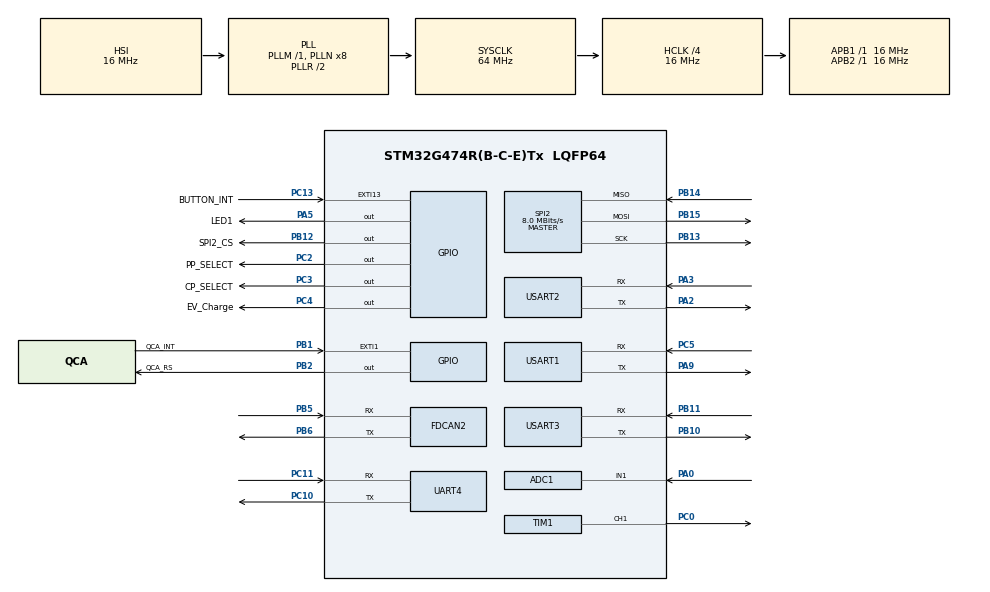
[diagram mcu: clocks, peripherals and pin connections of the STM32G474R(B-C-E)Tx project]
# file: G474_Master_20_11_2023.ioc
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ADC1.Channel-0\#ChannelRegularConversion=ADC_CHANNEL_1
ADC1.NbrOfConversionFlag=1
ADC1.OffsetNumber-0\#ChannelRegularConversion=ADC_OFFSET_NONE
ADC1.Rank-0\#ChannelRegularConversion=1
ADC1.SamplingTime-0\#ChannelRegularConversion=ADC_SAMPLETIME_2CYCLES_5
ADC1.master=1
Dma.Request0=UART4_RX
Dma.Request1=USART3_RX
Dma.UART4_RX.0.Direction=DMA_PERIPH_TO_MEMORY
Dma.UART4_RX.0.EventEnable=DISABLE
Dma.UART4_RX.0.Instance=DMA1_Channel1
Dma.UART4_RX.0.MemDataAlignment=DMA_MDATAALIGN_BYTE
Dma.UART4_RX.0.MemInc=DMA_MINC_ENABLE
Dma.UART4_RX.0.Mode=DMA_NORMAL
Dma.UART4_RX.0.PeriphDataAlignment=DMA_PDATAALIGN_BYTE
Dma.UART4_RX.0.PeriphInc=DMA_PINC_DISABLE
Dma.UART4_RX.0.Polarity=HAL_DMAMUX_REQ_GEN_RISING
Dma.UART4_RX.0.Priority=DMA_PRIORITY_LOW
Dma.UART4_RX.0.RequestNumber=1
Dma.UART4_RX.0.SignalID=NONE
Dma.UART4_RX.0.SyncEnable=DISABLE
Dma.UART4_RX.0.SyncPolarity=HAL_DMAMUX_SYNC_NO_EVENT
Dma.UART4_RX.0.SyncRequestNumber=1
Dma.UART4_RX.0.SyncSignalID=NONE
Dma.USART3_RX.1.Direction=DMA_PERIPH_TO_MEMORY
Dma.USART3_RX.1.EventEnable=DISABLE
Dma.USART3_RX.1.Instance=DMA1_Channel2
Dma.USART3_RX.1.MemDataAlignment=DMA_MDATAALIGN_BYTE
Dma.USART3_RX.1.MemInc=DMA_MINC_ENABLE
Dma.USART3_RX.1.Mode=DMA_NORMAL
Dma.USART3_RX.1.PeriphDataAlignment=DMA_PDATAALIGN_BYTE
Dma.USART3_RX.1.PeriphInc=DMA_PINC_DISABLE
Dma.USART3_RX.1.Polarity=HAL_DMAMUX_REQ_GEN_RISING
Dma.USART3_RX.1.Priority=DMA_PRIORITY_LOW
Dma.USART3_RX.1.RequestNumber=1
Dma.USART3_RX.1.SignalID=NONE
Dma.USART3_RX.1.SyncEnable=DISABLE
Dma.USART3_RX.1.SyncPolarity=HAL_DMAMUX_SYNC_NO_EVENT
Dma.USART3_RX.1.SyncRequestNumber=1
Dma.USART3_RX.1.SyncSignalID=NONE
FDCAN2.AutoRetransmission=ENABLE
FDCAN2.CalculateBaudRateNominal=125000
FDCAN2.CalculateTimeBitNominal=8000
FDCAN2.CalculateTimeQuantumNominal=1000.0
FDCAN2.NominalPrescaler=16
FDCAN2.NominalTimeSeg1=4
FDCAN2.NominalTimeSeg2=3
Mcu.Family=STM32G4
Mcu.Name=STM32G474R(B-C-E)Tx
Mcu.Package=LQFP64
NVIC.ADC1_2_IRQn=true\:0\:0\:false\:false\:true\:true\:true\:true
NVIC.DMA1_Channel1_IRQn=true\:0\:0\:false\:false\:true\:false\:true\:true
NVIC.DMA1_Channel2_IRQn=true\:0\:0\:false\:false\:true\:false\:true\:true
NVIC.EXTI15_10_IRQn=true\:0\:0\:false\:false\:true\:true\:true\:true
NVIC.EXTI1_IRQn=true\:0\:0\:false\:false\:true\:true\:true\:true
NVIC.FDCAN2_IT0_IRQn=true\:0\:0\:false\:false\:true\:true\:true\:true
NVIC.PriorityGroup=NVIC_PRIORITYGROUP_4
NVIC.SPI2_IRQn=true\:0\:0\:false\:false\:true\:true\:true\:true
NVIC.TIM1_BRK_TIM15_IRQn=true\:0\:0\:false\:false\:true\:true\:true\:true
NVIC.TIM1_TRG_COM_TIM17_IRQn=true\:0\:0\:false\:false\:true\:true\:true\:true
NVIC.TIM1_UP_TIM16_IRQn=true\:0\:0\:false\:false\:true\:true\:true\:true
PA0.Mode=IN1-Single-Ended
PA0.Signal=ADC1_IN1
PA13.Mode=Serial_Wire
PA13.Signal=SYS_JTMS-SWDIO
PA14.Mode=Serial_Wire
PA14.Signal=SYS_JTCK-SWCLK
PA2.Mode=Asynchronous
PA2.Signal=USART2_TX
PA3.Mode=Asynchronous
PA3.Signal=USART2_RX
PA5.GPIO_Label=LED1
PA5.PinState=GPIO_PIN_RESET
PA5.Signal=GPIO_Output
PA9.Mode=Asynchronous
PA9.Signal=USART1_TX
PB1.GPIO_Label=QCA_INT
PB1.GPIO_ModeDefaultEXTI=GPIO_MODE_IT_RISING
PB1.Signal=GPXTI1
PB10.Mode=Asynchronous
PB10.Signal=USART3_TX
PB11.GPIO_FM8=__NULL
PB11.Mode=Asynchronous
PB11.Signal=USART3_RX
PB12.GPIO_Label=SPI2_CS
PB12.Signal=GPIO_Output
PB13.Mode=Full_Duplex_Master
PB13.Signal=SPI2_SCK
PB14.Mode=Full_Duplex_Master
PB14.Signal=SPI2_MISO
PB15.Mode=Full_Duplex_Master
PB15.Signal=SPI2_MOSI
PB2.GPIO_Label=QCA_RS
PB2.Signal=GPIO_Output
PB5.Mode=FDCAN_Activate
PB5.Signal=FDCAN2_RX
PB6.Mode=FDCAN_Activate
PB6.Signal=FDCAN2_TX
PC0.Signal=S_TIM1_CH1
PC10.Mode=Asynchronous
PC10.Signal=UART4_TX
PC11.Mode=Asynchronous
PC11.Signal=UART4_RX
PC13.GPIO_Label=BUTTON_INT
PC13.Signal=GPXTI13
PC2.GPIO_Label=PP_SELECT
PC2.Signal=GPIO_Output
PC3.GPIO_Label=CP_SELECT
PC3.Signal=GPIO_Output
PC4.GPIO_Label=EV_Charge
PC4.GPIO_ModeDefaultOutputPP=GPIO_MODE_OUTPUT_PP
PC4.GPIO_PuPd=GPIO_NOPULL
PC4.Signal=GPIO_Output
PC5.Mode=Asynchronous
PC5.Signal=USART1_RX
ProjectManager.HeapSize=0x200
ProjectManager.StackSize=0x400
ProjectManager.TargetToolchain=STM32CubeIDE
RCC.ADC12Freq_Value=64000000
RCC.ADC345Freq_Value=64000000
RCC.AHBCLKDivider=RCC_SYSCLK_DIV4
RCC.AHBFreq_Value=16000000
RCC.APB1Freq_Value=16000000
RCC.APB1TimFreq_Value=16000000
RCC.APB2Freq_Value=16000000
RCC.APB2TimFreq_Value=16000000
RCC.CortexFreq_Value=16000000
RCC.EXTERNAL_CLOCK_VALUE=12288000
RCC.HCLKFreq_Value=16000000
RCC.HSE_VALUE=8000000
RCC.HSI48_VALUE=48000000
RCC.HSI_VALUE=16000000
RCC.LSE_VALUE=32768
RCC.SYSCLKFreq_VALUE=64000000
RCC.SYSCLKSource=RCC_SYSCLKSOURCE_PLLCLK
RCC.USBFreq_Value=64000000
RCC.VCOOutputFreq_Value=128000000
SH.S_TIM1_CH1.0=TIM1_CH1,PWM Generation1 CH1
SPI2.CLKPhase=SPI_PHASE_2EDGE
SPI2.CLKPolarity=SPI_POLARITY_HIGH
SPI2.CalculateBaudRate=8.0 MBits/s
SPI2.DataSize=SPI_DATASIZE_8BIT
SPI2.Direction=SPI_DIRECTION_2LINES
SPI2.Mode=SPI_MODE_MASTER
SPI2.VirtualType=VM_MASTER
TIM1.AutoReloadPreload=TIM_AUTORELOAD_PRELOAD_ENABLE
TIM1.Channel-PWM\ Generation1\ CH1=TIM_CHANNEL_1
TIM1.PeriodNoDither=99
TIM1.Prescaler=159
TIM17.AutoReloadPreload=TIM_AUTORELOAD_PRELOAD_ENABLE
TIM17.PeriodNoDither=9999
TIM17.Prescaler=319
USART1.VirtualMode-Asynchronous=VM_ASYNC
USART2.VirtualMode-Asynchronous=VM_ASYNC
USART3.VirtualMode-Asynchronous=VM_ASYNC
VP_SYS_VS_DBSignals.Mode=DisableDeadBatterySignals
VP_TIM17_VS_ClockSourceINT.Mode=Enable_Timer
board=custom

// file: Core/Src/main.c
/* USER CODE BEGIN Header */
/**
 ******************************************************************************
 * @file           : main.c
 * @brief          : Main program body
 ******************************************************************************
 * @attention
 *
 * Copyright (c) 2023 STMicroelectronics.
 * All rights reserved.
 *
 * This software is licensed under terms that can be found in the LICENSE file
 * in the root directory of this software component.
 * If no LICENSE file comes with this software, it is provided AS-IS.
 *
 ******************************************************************************
 */
/* USER CODE END Header */
#include "main.h"

/* USER CODE BEGIN Includes */
//#include "HMI.h"
#include "stdlib.h"
#include "mycanopen.h"
#include "MyFLASH.h"
#include "myerror.h"
#include "string.h"
#include "../../Libraries/cims.h"
#include "ToESP.h"
/* USER CODE END Includes */

ADC_HandleTypeDef hadc1;

FDCAN_HandleTypeDef hfdcan2;

SPI_HandleTypeDef hspi2;

TIM_HandleTypeDef htim1;
TIM_HandleTypeDef htim17;

UART_HandleTypeDef huart4;
UART_HandleTypeDef huart1;
UART_HandleTypeDef huart2;
UART_HandleTypeDef huart3;
DMA_HandleTypeDef hdma_uart4_rx;
DMA_HandleTypeDef hdma_usart3_rx;

void SystemClock_Config(void);
static void MX_GPIO_Init(void);
static void MX_DMA_Init(void);
static void MX_FDCAN2_Init(void);
static void MX_UART4_Init(void);
static void MX_TIM17_Init(void);
static void MX_USART3_UART_Init(void);
static void MX_ADC1_Init(void);
static void MX_SPI2_Init(void);
static void MX_TIM1_Init(void);
static void MX_USART1_UART_Init(void);
static void MX_USART2_UART_Init(void);

/* USER CODE BEGIN 0 */
#define TIMEOUT 1000			//maximum time for uart and SPI transmit
#define TPDO_Event_Time 100
#define current_multiplier 1
#define voltage_multiplier 1
#define temperature_multiplier 1
#define Maximum_number_of_Slave 6							//nen la 8*n-2
#define Maximum_time_not_update_of_IDs 5000
#define Maximum_number_of_IDs (Maximum_number_of_Slave+2)	//number of ID, =number of slave+2, 1 for master, 1 for initial slave
#define Number_of_Used_Slave 2								//<Maximum_number_of_Slave

#define UART_SIZE 4
uint8_t buffer[UART_SIZE] = { 0 };
uint8_t size = 0;
uint8_t flag = 0;

uint32_t previoustick_master = 0;
uint32_t previoustick_slave[Maximum_number_of_IDs];
uint32_t previoustick_HMI = 0;
uint32_t previoustick_ESP = 0;
uint32_t previoustick_SPI = 0;
uint32_t previoustick_calculate = 0;
uint32_t previoustick_CAN = 0;

uint8_t uart4_rx_data[8];
uint8_t uart4_tx_data[8];
uint8_t uart3_rx_data[8];
uint8_t uart1_rx_data[8];
uint8_t uart3_tx_data[8];

FDCAN_TxHeaderTypeDef CAN_Master_Tx_Header;
FDCAN_RxHeaderTypeDef CAN_Master_Rx_Header;

uint8_t CAN_Master_Tx_Data[8];
uint8_t CAN_Master_Rx_Data[8];

SPDO_Data Master_Tx_SPDO_Data;
SPDO_Data Master_Rx_SPDO_Data;

SPDO_Data Slave_Data[Maximum_number_of_Slave];

uint8_t list_node_available[Maximum_number_of_IDs];		//Stored list of IDs
uint32_t list_node_update[Maximum_number_of_IDs];//The list saves the time that the IDs were last updated

int uart_flag = 0;
int button_flag = 0;
int button_flag2 = 0;
int can_flag = 0;

int can_setting_confirm_flag = 0;//so luong thong so da cai dat xong, 1 node co 4 thong so
int can_node_number = 2;//so node dang tham gia mang, se cap nhat trong timer

uint16_t EVstate;
uint16_t Current = 30;
uint16_t Voltage = 0;
uint16_t Temperature = 50;
uint16_t Energy = 0;
// Simulation
#define MAX_CONNECTORS 2

int connectors[MAX_CONNECTORS] = { 0, 0 };
int users[MAX_CONNECTORS] = { 255, 255 };
uint8_t current_user = 255;
int status[MAX_CONNECTORS] = { 0, 0 }; // Connector charging or not
uint8_t connectorID;

void Serial_Print(void) {
#define TIMEOUT_100_MS 100
	HAL_UART_Transmit(&huart1, (uint8_t*) serial_output_buffer,
			strlen(serial_output_buffer), TIMEOUT_100_MS);
}

void EVSE_state() {
	sprintf(serial_output_buffer, "Connector 1: %X, Connector 2: %X\n",
			connectors[0], connectors[1]);
	Serial_Print();
	sprintf(serial_output_buffer, "Status 1: %X, Status 2: %X\n", status[0],
			status[1]);
	Serial_Print();
	sprintf(serial_output_buffer, "User 1: %X, User 2: %X\n", users[0], users[1]);
	Serial_Print();
	sprintf(serial_output_buffer, "curent_User: %X\n", current_user);
	Serial_Print();
}

void ESP_Send(void) {
	HAL_UART_Transmit(&huart3, ESP_Payload, 8, 100);
}

void SPI_Transmit_Receive(void) {
	HAL_GPIO_WritePin(SPI2_CS_GPIO_Port, SPI2_CS_Pin, GPIO_PIN_RESET);
	HAL_SPI_TransmitReceive(&hspi2, spi_tx_buffer, spi_rx_buffer, spi_data_size,
			200);
	HAL_GPIO_WritePin(SPI2_CS_GPIO_Port, SPI2_CS_Pin, GPIO_PIN_SET);
}

void HMI_Print(void) {
	HAL_UART_Transmit(&huart4, (uint8_t*) hmi_buffer, strlen(hmi_buffer),
	TIMEOUT_100_MS);
	uint8_t END_BYTE = 0xFF;
	HAL_UART_Transmit(&huart4, &END_BYTE, 1, 10);
	HAL_UART_Transmit(&huart4, &END_BYTE, 1, 10);

HAL_UART_Transmit(&huart4, &END_BYTE, 1, 10);
}

void HAL_TIM_PeriodElapsedCallback(TIM_HandleTypeDef *htim) {
	;
}
uint8_t calculate_checksum(uint8_t *frame, size_t length) {
	uint8_t sum = 0;
	for (size_t i = 0; i < length - 1; i++) {
		sum += frame[i];
	}
	return sum & 0xFF;
}
void create_frame(uint8_t file_code, uint8_t *data, uint8_t *frame,
		uint8_t connector) {
	frame[0] = 0xAB;
	frame[1] = 0xCD;
	frame[2] = file_code;
	memcpy(&frame[3], data, 3);
	frame[6] = connector;
	frame[7] = calculate_checksum(frame, 8);
}
void send_frames(UART_HandleTypeDef *huart, uint8_t file_code, uint8_t *data,
		uint8_t connector) {
	uint8_t frame[8];
	create_frame(file_code, data, frame, connector);
	HAL_UART_Transmit(huart, frame, 8, HAL_MAX_DELAY);
	printf("Sent: ");
	for (int i = 0; i < 8; i++) {
		printf("%02X ", frame[i]);
	}
	printf("\n");

}

void HAL_UART_RxCpltCallback(UART_HandleTypeDef *huart) {
	UNUSED(huart);
	if (huart->Instance == huart3.Instance)	//ESP data
			{
		HAL_UART_Receive_DMA(&huart3, uart3_rx_data, sizeof(uart3_rx_data));
		connectorID = uart3_rx_data[5];
		if (uart3_rx_data[2] == 0x15) {
			EVSE_state();
			if (connectorID == 255 || status[uart3_rx_data[5] - 1] == 0) {
				current_user = uart3_rx_data[4];

				uint8_t data_to_hmi[9] = { 0x70, 0x61, 0x67, 0x65, 0x20, 0x31,
						0xFF, 0xFF, 0xFF };
				uint8_t status_hmi = HAL_UART_Transmit(&huart4, data_to_hmi, 9, 100);
				sprintf(serial_output_buffer,
						"Status HMI: %02X",status_hmi);
				Serial_Print();
				HAL_UART_Transmit(&huart4, data_to_hmi, 9, 100);
				EVSE_state();
			} else if (status[connectorID - 1] == 1) { //swipe card to stop
				uint8_t data[] = { 0x00, 0x00, uart3_rx_data[5] };
				send_frames(&huart3, 0x18, data, 0x00); // request stop to server
				current_user = uart3_rx_data[4];
				// users: số thứ tự connector ; current_user: đại diện cho ID người đến
				if(users[current_user]==2)
				{
					HMI_Compose_Realtime_Data(HMI_TRAN_STATUS2, 0);
					HMI_Print();
				}
				else if(users[current_user]==1)
				{
					HMI_Compose_Realtime_Data(HMI_TRAN_STATUS1, 0);
					HMI_Print();
				}

				}

			}

		 else if (uart3_rx_data[2] == 0x1B) { // confirm from server
			if (uart3_rx_data[3]) {
				status[uart3_rx_data[5] - 1] = 1;
				//send to EV that EVSE is prepare charge
				PEF_Compose_Contactor_Close_Req();
				SPI_QCA7000_Send_Eth_Frame();
				sprintf(serial_output_buffer,
						"Send PEF_Compose_Contactor_Close_Req() ");
				Serial_Print();
				//send logout to ESP
				uint8_t data[] = { 0x00, current_user, users[current_user] };
				send_frames(&huart3, 0x15, data, 0x00);
				current_user = 255;
				EVSE_state();
			} else { // confirm stop transaction
				status[uart3_rx_data[5] - 1] = 0;
				uint8_t data[] = { 0x00, 0x00, users[current_user] };
				send_frames(&huart3, 0x17, data, 0x00); // unplugged connector

				connectors[users[current_user] - 1] = 0;

				data[1] = current_user;
				send_frames(&huart3, 0x15, data, 0x00); // logout
				current_user = 255;

				//send to HMI change to begin UI
				uint8_t data_to_hmi[9] = { 0x70, 0x61, 0x67, 0x65, 0x20, 0x30,
						0xFF, 0xFF, 0xFF };
				HAL_UART_Transmit(&huart4, data_to_hmi, 9, 100);
				EVSE_state();
				PEF_Reset_RXBUFFER();
			}
		}
	    memset(uart3_rx_data, 0, sizeof(uart3_rx_data));
			}
	if (huart->Instance == huart4.Instance)	//HMI data
			{

		uint8_t uart4_status=HAL_UART_Receive_DMA(&huart4, uart4_rx_data, sizeof(uart4_rx_data));
		sprintf(serial_output_buffer, "HMI status: %02X",uart4_status,uart4_rx_data[0]);
		Serial_Print();
		if (uart4_rx_data[0] > 0x29 && uart4_rx_data[0] < 0x60) {
			uart_flag = 1;
			if (uart4_rx_data[0] == 0x40) {
				//start
				sprintf(serial_output_buffer, "HMI gui goi tin Start ");
				Serial_Print();
				uint8_t data_start[] = { 0x00, 0x00, users[current_user] };
				send_frames(&huart3, TYPE_HMI_CONTROL_TRANSACTION, data_start,
						0x01); // request start to server
				ESP_Data.ESP_Data_voltage = 0;
				ESP_Data.ESP_Data_current = 0;
				Packet_to_ESP(0x20, users[current_user]);
				Packet_to_ESP(0x21, users[current_user]);

				Master_Tx_SPDO_Data.state = CHARGING_ON;
				HAL_GPIO_WritePin(LED1_GPIO_Port, LED1_Pin, GPIO_PIN_SET);
			}
			else {
				//data
				//Master_Tx_SPDO_Data.state=CHARGING_ON;
				sprintf(serial_output_buffer, "HMI gui goi tin Setting ");
				Serial_Print();
				HMI_Evaluate_Setting_Data(uart4_rx_data);
			}

		memset(uart4_rx_data, 0, sizeof(uart4_rx_data));
	}
}

}
void HAL_GPIO_EXTI_Callback(uint16_t GPIO_Pin) {
	if (GPIO_Pin == GPIO_PIN_13) {
	}

	if (GPIO_Pin == QCA_INT_Pin) {
		SPI_QCA7000_Handling_Intr();
	}

}

/* USER CODE END 0 */

int main(void)
{

  /* MCU Configuration--------------------------------------------------------*/

  /* Reset of all peripherals, Initializes the Flash interface and the Systick. */
  HAL_Init();

  /* Configure the system clock */
  SystemClock_Config();

  /* Initialize all configured peripherals */
  MX_GPIO_Init();
  MX_DMA_Init();
  MX_FDCAN2_Init();
  MX_UART4_Init();
  MX_TIM17_Init();
  MX_USART3_UART_Init();
  MX_ADC1_Init();
  MX_SPI2_Init();
  MX_TIM1_Init();
  MX_USART1_UART_Init();
  MX_USART2_UART_Init();
  /* USER CODE BEGIN 2 */
	HAL_TIM_PWM_Start(&htim1, TIM_CHANNEL_1);
	HAL_GPIO_WritePin(QCA_RS_GPIO_Port, QCA_RS_Pin, GPIO_PIN_SET);
	//  HAL_GPIO_WritePin(PP_SELECT_GPIO_Port, PP_SELECT_Pin, GPIO_PIN_SET);
	HAL_UART_Receive_DMA(&huart4, uart4_rx_data, sizeof(uart4_rx_data));
	HAL_UART_Receive_DMA(&huart3, uart3_rx_data, sizeof(uart3_rx_data));

  /* USER CODE END 2 */

  /* Infinite loop */
	while (1) {

    /* USER CODE BEGIN 3 */
		uint8_t hour, hour2;
		uint8_t min, min2;
		uint16_t soc, soc2;
		uint16_t init_soc, init_soc2;
		uint16_t rate_soc, rate_soc2;
		uint16_t soh, soh2;
		TIM1->CCR1 = 50;
		uint32_t currenttick = HAL_GetTick(); // Lưu th�?i điểm bắt đầu

		if ((currenttick - previoustick_calculate) >= TPDO_Event_Time) //timer 100ms
		{
			previoustick_calculate = currenttick;
//		uint32_t period=currenttick-previoustick_calculate;
			//set duty cho PWM
//		uint32_t duty;
//		if(myEV.charging_current_request<51) duty=myEV.charging_current_request*5/3;
//		else if(myEV.charging_current_request<80) duty=(myEV.charging_current_request*2/5)+64;
//		TIM1->CCR1=duty;	//duty
			__HAL_TIM_SET_COMPARE(&htim1, TIM_CHANNEL_1, 50);
		}

		//EV state timer 1s
		if ((currenttick - previoustick_SPI) >= TPDO_Event_Time * 10) {
			previoustick_SPI = currenttick;

			EVstate = PEF_Get_Sequence_State();
			switch (EVstate) {
			case INITIALIZATION + STATE_B + COMMUNICATION_INIT + REQUEST:
				break;

			case INITIALIZATION + STATE_B + COMMUNICATION_INIT + CONFIRM:
				break;

			case INITIALIZATION + STATE_B + PARAMETER_EXCHANGE + REQUEST: //
				break;

			case INITIALIZATION + STATE_B + PARAMETER_EXCHANGE + RESPONSE:
				break;

			case INITIALIZATION + STATE_B + PARAMETER_EXCHANGE + CONFIRM:
				break;

			case INITIALIZATION + STATE_B + EVSE_CONNECTOR_LOCK + REQUEST: //send connector plugged or not
				//gui connected len HMI
				//simulation that first user always plugged connector 2
				if (current_user == 0) {
					users[current_user] = 2;
				} else if (current_user == 1) {
					users[current_user] = 1;
				}
				if(users[current_user]==1)
				{
					sprintf(serial_output_buffer, "Hello 1");
					Serial_Print();
					HMI_Compose_Status(HMI_CONNECT);
					HMI_Print();
					uint8_t data_connect[] = { 0x00, 0x00, users[current_user] };
					send_frames(&huart3, TYPE_CONNECTER_STATUS, data_connect, 0x01);
					HAL_GPIO_WritePin(CP_SELECT_GPIO_Port, CP_SELECT_Pin,
							GPIO_PIN_SET);

					soc = myEV.current_battery;
					init_soc = 105+rand()%5;
					soh = 100;
					rate_soc =(uint16_t) soc * 100 / soh;
					hour = (uint8_t) ((100 - rate_soc)/18);
					min = ((100 - rate_soc)*60/18) - hour * 60;
					HMI_Compose_Pre_Charge_Parm(HMI_InitSoC, init_soc);
					HMI_Print();
					HMI_Compose_Pre_Charge_Parm(HMI_SoH, (uint16_t)100*soh/init_soc);
					HMI_Print();
					HMI_Compose_Pre_Charge_Parm(HMI_SoC, soc);
					HMI_Print();
					HMI_Compose_Pre_Charge_Parm(HMI_CHARGING_TIME_HOUR, hour);
					HMI_Print();
					HMI_Compose_Pre_Charge_Parm(HMI_CHARGING_TIME_MIN, min);
					HMI_Print();

					//send data init
					uint8_t data_soh[] = { 0x00, (uint8_t) (soh & 0xFF),
							(uint8_t) ((soh >> 8) & 0xFF) };
					send_frames(&huart3, TYPE_SOH, data_soh, users[current_user]);
					uint8_t data_init_soc[] = { 0x00, (uint8_t) (init_soc & 0xFF),
							(uint8_t) ((init_soc >> 8) & 0xFF) };
					send_frames(&huart3, TYPE_INIT_SOC, data_init_soc,
							users[current_user]);
					uint8_t data_soc[] = { 0x00, (uint8_t) (soc & 0xFF),
							(uint8_t) ((soc >> 8) & 0xFF) };
					send_frames(&huart3, TYPE_SOC, data_soc, users[current_user]);
				}
				if(users[current_user]==2)
				{
					sprintf(serial_output_buffer, "Hello 0");
					Serial_Print();
					HMI_Compose_Status(HMI_CONNECT2);
					HMI_Print();
					uint8_t data_connect[] = { 0x00, 0x00, users[current_user] };
					send_frames(&huart3, TYPE_CONNECTER_STATUS, data_connect, 0x01);
					HAL_GPIO_WritePin(CP_SELECT_GPIO_Port, CP_SELECT_Pin,
							GPIO_PIN_SET);

					soc2 = myEV.current_battery+rand()%5;
					init_soc2 = 105+rand()%5;
					soh2 = 100;
					rate_soc2 = (uint16_t)soc2 * 100 / soh2;
					hour2 = (uint8_t) ((100 - rate_soc2)/18);
					min2 = ((100 - rate_soc2)*60/18) - hour2 * 60;
					HMI_Compose_Pre_Charge_Parm(HMI_InitSoC2, 100);
					HMI_Print();
					HMI_Compose_Pre_Charge_Parm(HMI_SoH2, (uint16_t)100*soh2/init_soc2);
					HMI_Print();
					HMI_Compose_Pre_Charge_Parm(HMI_SoC2, soc2);
					HMI_Print();
					HMI_Compose_Pre_Charge_Parm(HMI_CHARGING_TIME_HOUR2, hour2);
					HMI_Print();
					HMI_Compose_Pre_Charge_Parm(HMI_CHARGING_TIME_MIN2, min2);
					HMI_Print();

					//send data init
					uint8_t data_soh2[] = { 0x00, (uint8_t) (soh2 & 0xFF),
							(uint8_t) ((soh2 >> 8) & 0xFF) };
					send_frames(&huart3, TYPE_SOH, data_soh2, users[current_user]);
					uint8_t data_init_soc2[] = { 0x00, (uint8_t) (init_soc2 & 0xFF),
							(uint8_t) ((init_soc2 >> 8) & 0xFF) };
					send_frames(&huart3, TYPE_INIT_SOC, data_init_soc2,
							users[current_user]);
					uint8_t data_soc2[] = { 0x00, (uint8_t) (soc2 & 0xFF),
							(uint8_t) ((soc2 >> 8) & 0xFF) };
					send_frames(&huart3, TYPE_SOC, data_soc2, users[current_user]);
				}
				EVSE_state();
				PEF_Reset_RXBUFFER();//reset EVState - EV buffer
				break;

			case INITIALIZATION + STATE_B + EVSE_CONNECTOR_LOCK + CONFIRM:

				break;

			case ENERGY_TRANSFER + STATE_C + EV_CONTACTOR_CLOSE + REQUEST:

				break;

			case ENERGY_TRANSFER + STATE_C + EV_CONTACTOR_CLOSE + CONFIRM:
				//gui ready len HMI, vao trang theo doi realtime data
				CAN_Master_Tx_Data[0] = 0x02;
				can_setting_confirm_flag = 0;
				Master_Tx_SPDO_Data.state = CHARGING_ON;
				HMI_Compose_Status(HMI_READY);
				HMI_Print();

				break;

			case ENERGY_TRANSFER + STATE_C + CHARGING_CURRENT_DEMAND + REQUEST:
				//gui cac cai dat qua CAN
				//		HMI_Compose_Pre_Charge_Parm(HMI_CURRENT_BATTERY, myEV.current_battery);
				HMI_Print();
				break;

			case ENERGY_TRANSFER + STATE_C + CHARGING_CURRENT_DEMAND + RESPONSE:

				break;

			case ENERGY_TRANSFER + STATE_C + CURRENT_SUPPRESSION + REQUEST:
				can_setting_confirm_flag = 0;
				CAN_Master_Tx_Data[0] = 0x02;
				Master_Tx_SPDO_Data.state = CHARGING_OFF;
				HMI_Compose_Status(HMI_STOP);
				HMI_Print();

				break;

			case ENERGY_TRANSFER + STATE_C + CURRENT_SUPPRESSION + RESPONSE:

				break;

			case ENERGY_TRANSFER + STATE_C + CURRENT_SUPPRESSION + CONFIRM:

				break;

			case SHUT_DOWN + STATE_B + ZERO_CURRENT_CONFIRM + REQUEST:

				break;

			case SHUT_DOWN + STATE_B + ZERO_CURRENT_CONFIRM + CONFIRM:

				break;

			case SHUT_DOWN + STATE_B + VOLTAGE_VERIFICATION + REQUEST:

				break;

			case SHUT_DOWN + STATE_B + VOLTAGE_VERIFICATION + CONFIRM:

				break;

			case SHUT_DOWN + STATE_B + CONNECTOR_UNLOCK + REQUEST:

				break;

			case SHUT_DOWN + STATE_B + CONNECTOR_UNLOCK + CONFIRM:

				break;

			case SHUT_DOWN + STATE_B + END_OF_CHARGE + REQUEST:

				break;

			case SHUT_DOWN + STATE_B + END_OF_CHARGE + CONFIRM:
				//PEF_Handle_End_of_Charge_Cnf();
				uart_flag = 0;
				break;
			}
		}

		if ((currenttick - previoustick_HMI) >= TPDO_Event_Time * 20)//timer 500ms cho HMI. gui realtime data
				{
			previoustick_HMI = currenttick;
			if (status[0] == 1) { //connector 2
				if ((EVstate
						== (ENERGY_TRANSFER + STATE_C + CHARGING_CURRENT_DEMAND
								+ REQUEST))
						|| (EVstate
								== (ENERGY_TRANSFER + STATE_C
										+ CURRENT_SUPPRESSION + REQUEST))
						|| (EVstate
								== (ENERGY_TRANSFER + STATE_C
										+ CURRENT_SUPPRESSION + CONFIRM)))//SPI CCC REQ, SPI Current suppression REQ, SPI Current suppression CNF
						{
					uint8_t temp = 50 + (rand() % 2) - (rand() % 2);
					HAL_GPIO_WritePin(EV_Charge_GPIO_Port, EV_Charge_Pin, SET);
					HMI_Compose_Pre_Charge_Parm(HMI_CHARGING_TIME_HOUR, hour);
					HMI_Print();
					HMI_Compose_Pre_Charge_Parm(HMI_CHARGING_TIME_MIN, min);
					HMI_Print();
					HMI_Compose_Realtime_Data(HMI_VOLTAGE, 600);
					HMI_Print();
					HMI_Compose_Realtime_Data(HMI_CURRENT, 30);
					HMI_Print();
					HMI_Compose_Realtime_Data(HMI_TEMP, 50);
					HMI_Print();
					HMI_Compose_Realtime_Data(HMI_SoC, rate_soc);
					HMI_Print();
					ESP_Data.ESP_Data_voltage = 600;
					ESP_Data.ESP_Data_current = 30;
					sprintf(serial_output_buffer, "SOC1: %u and %u",rate_soc,soc);
					Serial_Print();
					Packet_to_ESP(TYPE_VOLTAGE_VALUE, 2);
					Packet_to_ESP(TYPE_CURRENT_VALUE, 2);
					uint8_t data_sot_soc[] = { temp, (uint8_t) (rate_soc & 0xFF),
							(uint8_t) ((rate_soc >> 8) & 0xFF) };
					send_frames(&huart3, TYPE_SOT_SOC, data_sot_soc,
							2);
					rate_soc = rate_soc + 1;
					min = min - ((100 - rate_soc)*60/18)/(100-rate_soc);
					if (min <=0 && hour > 0) {
						min = 60;
						hour = hour - 1;
					}
					if (min > 0 && hour == 0) {
						min = min;
					}
					if (rate_soc >= 100) {
						rate_soc = 100;
						min = 0;
						hour = 0;
						HMI_Compose_Realtime_Data(HMI_TRAN_STATUS1, 0);
						HMI_Print();
						uint8_t stop_to_hmi[9] = { 0x70, 0x61, 0x67, 0x65, 0x20,
								0x30, 0xFF, 0xFF, 0xFF };
						HAL_UART_Transmit(&huart4, stop_to_hmi, 9, 100);
						HAL_GPIO_WritePin(EV_Charge_GPIO_Port, EV_Charge_Pin,
								GPIO_PIN_RESET);
						HAL_GPIO_WritePin(CP_SELECT_GPIO_Port, CP_SELECT_Pin,
								GPIO_PIN_RESET);
						uint8_t data_stop[] = { 0x00, 0x00, 2 };
						send_frames(&huart3, TYPE_HMI_CONTROL_TRANSACTION,
								data_stop, 0x00);
						PEF_Reset_RXBUFFER();

					}
				}
			}
			if (status[1] == 1) {
				if ((EVstate
						== (ENERGY_TRANSFER + STATE_C + CHARGING_CURRENT_DEMAND
								+ REQUEST))
						|| (EVstate
								== (ENERGY_TRANSFER + STATE_C
										+ CURRENT_SUPPRESSION + REQUEST))
						|| (EVstate
								== (ENERGY_TRANSFER + STATE_C
										+ CURRENT_SUPPRESSION + CONFIRM)))//SPI CCC REQ, SPI Current suppression REQ, SPI Current suppression CNF
						{
					uint8_t temp2 = 50 + (rand() % 2) - (rand() % 2);
					HAL_GPIO_WritePin(EV_Charge_GPIO_Port, EV_Charge_Pin, SET);
					HMI_Compose_Pre_Charge_Parm(HMI_CHARGING_TIME_HOUR2, hour2);
					HMI_Print();
					HMI_Compose_Pre_Charge_Parm(HMI_CHARGING_TIME_MIN2, min2);
					HMI_Print();
					HMI_Compose_Realtime_Data(HMI_VOLTAGE2, 600);
					HMI_Print();
					HMI_Compose_Realtime_Data(HMI_CURRENT2, 30);
					HMI_Print();
					HMI_Compose_Realtime_Data(HMI_TEMP2, temp2);
					HMI_Print();
					HMI_Compose_Pre_Charge_Parm(HMI_SoC2, rate_soc2);
					HMI_Print();
					ESP_Data.ESP_Data_voltage = 600;
					ESP_Data.ESP_Data_current = 30;
					sprintf(serial_output_buffer, "SOC0: %u and %u",rate_soc2,soc2);
					Serial_Print();
					Packet_to_ESP(TYPE_VOLTAGE_VALUE, 2);
					Packet_to_ESP(TYPE_CURRENT_VALUE, 2);
					uint8_t data_sot_soc2[] = { temp2, (uint8_t) (rate_soc2 & 0xFF),
							(uint8_t) ((rate_soc2 >> 8) & 0xFF) };
					send_frames(&huart3, TYPE_SOT_SOC, data_sot_soc2,
							2);
					rate_soc2 = rate_soc2 + 1;
					hour2 = (uint8_t) ((100 - rate_soc2)/18);
					min2 = ((100 - rate_soc2)*60/18) - hour2 * 60;
					if (rate_soc2 > 100) {
						rate_soc2 = 100;
						min2 = 0;
						hour2 = 0;
						HMI_Compose_Realtime_Data(HMI_TRAN_STATUS2, 0);
						HMI_Print();
						uint8_t stop_to_hmi[9] = { 0x70, 0x61, 0x67, 0x65, 0x20,
								0x30, 0xFF, 0xFF, 0xFF };
						HAL_UART_Transmit(&huart4, stop_to_hmi, 9, 100);
						HAL_GPIO_WritePin(EV_Charge_GPIO_Port, EV_Charge_Pin,
								GPIO_PIN_RESET);
						HAL_GPIO_WritePin(CP_SELECT_GPIO_Port, CP_SELECT_Pin,
								GPIO_PIN_RESET);
						uint8_t data_stop[] = { 0x00, 0x00, 2 };
						send_frames(&huart3, TYPE_HMI_CONTROL_TRANSACTION,
								data_stop, 0x00);
						PEF_Reset_RXBUFFER();

					}
				}
			}
		}
	}

  /* USER CODE END 3 */
}

void SystemClock_Config(void)
{
  RCC_OscInitTypeDef RCC_OscInitStruct = {0};
  RCC_ClkInitTypeDef RCC_ClkInitStruct = {0};

  /** Configure the main internal regulator output voltage
  */
  HAL_PWREx_ControlVoltageScaling(PWR_REGULATOR_VOLTAGE_SCALE1);

  /** Initializes the RCC Oscillators according to the specified parameters
  * in the RCC_OscInitTypeDef structure.
  */
  RCC_OscInitStruct.OscillatorType = RCC_OSCILLATORTYPE_HSI;
  RCC_OscInitStruct.HSIState = RCC_HSI_ON;
  RCC_OscInitStruct.HSICalibrationValue = RCC_HSICALIBRATION_DEFAULT;
  RCC_OscInitStruct.PLL.PLLState = RCC_PLL_ON;
  RCC_OscInitStruct.PLL.PLLSource = RCC_PLLSOURCE_HSI;
  RCC_OscInitStruct.PLL.PLLM = RCC_PLLM_DIV1;
  RCC_OscInitStruct.PLL.PLLN = 8;
  RCC_OscInitStruct.PLL.PLLP = RCC_PLLP_DIV2;
  RCC_OscInitStruct.PLL.PLLQ = RCC_PLLQ_DIV2;
  RCC_OscInitStruct.PLL.PLLR = RCC_PLLR_DIV2;
  if (HAL_RCC_OscConfig(&RCC_OscInitStruct) != HAL_OK)
  {
    Error_Handler();
  }

  /** Initializes the CPU, AHB and APB buses clocks
  */
  RCC_ClkInitStruct.ClockType = RCC_CLOCKTYPE_HCLK|RCC_CLOCKTYPE_SYSCLK
                              |RCC_CLOCKTYPE_PCLK1|RCC_CLOCKTYPE_PCLK2;
  RCC_ClkInitStruct.SYSCLKSource = RCC_SYSCLKSOURCE_PLLCLK;
  RCC_ClkInitStruct.AHBCLKDivider = RCC_SYSCLK_DIV4;
  RCC_ClkInitStruct.APB1CLKDivider = RCC_HCLK_DIV1;
  RCC_ClkInitStruct.APB2CLKDivider = RCC_HCLK_DIV1;

  if (HAL_RCC_ClockConfig(&RCC_ClkInitStruct, FLASH_LATENCY_0) != HAL_OK)
  {
    Error_Handler();
  }
}

static void MX_ADC1_Init(void)
{

  ADC_MultiModeTypeDef multimode = {0};
  ADC_ChannelConfTypeDef sConfig = {0};

  /** Common config
  */
  hadc1.Instance = ADC1;
  hadc1.Init.ClockPrescaler = ADC_CLOCK_SYNC_PCLK_DIV2;
  hadc1.Init.Resolution = ADC_RESOLUTION_12B;
  hadc1.Init.DataAlign = ADC_DATAALIGN_RIGHT;
  hadc1.Init.GainCompensation = 0;
  hadc1.Init.ScanConvMode = ADC_SCAN_DISABLE;
  hadc1.Init.EOCSelection = ADC_EOC_SINGLE_CONV;
  hadc1.Init.LowPowerAutoWait = DISABLE;
  hadc1.Init.ContinuousConvMode = DISABLE;
  hadc1.Init.NbrOfConversion = 1;
  hadc1.Init.DiscontinuousConvMode = DISABLE;
  hadc1.Init.ExternalTrigConv = ADC_SOFTWARE_START;
  hadc1.Init.ExternalTrigConvEdge = ADC_EXTERNALTRIGCONVEDGE_NONE;
  hadc1.Init.DMAContinuousRequests = DISABLE;
  hadc1.Init.Overrun = ADC_OVR_DATA_PRESERVED;
  hadc1.Init.OversamplingMode = DISABLE;
  if (HAL_ADC_Init(&hadc1) != HAL_OK)
  {
    Error_Handler();
  }

  /** Configure the ADC multi-mode
  */
  multimode.Mode = ADC_MODE_INDEPENDENT;
  if (HAL_ADCEx_MultiModeConfigChannel(&hadc1, &multimode) != HAL_OK)
  {
    Error_Handler();
  }

  /** Configure Regular Channel
  */
  sConfig.Channel = ADC_CHANNEL_1;
  sConfig.Rank = ADC_REGULAR_RANK_1;
  sConfig.SamplingTime = ADC_SAMPLETIME_2CYCLES_5;
  sConfig.SingleDiff = ADC_SINGLE_ENDED;
  sConfig.OffsetNumber = ADC_OFFSET_NONE;
  sConfig.Offset = 0;
  if (HAL_ADC_ConfigChannel(&hadc1, &sConfig) != HAL_OK)
  {
    Error_Handler();
  }

}

static void MX_FDCAN2_Init(void)
{

  hfdcan2.Instance = FDCAN2;
  hfdcan2.Init.ClockDivider = FDCAN_CLOCK_DIV1;
  hfdcan2.Init.FrameFormat = FDCAN_FRAME_CLASSIC;
  hfdcan2.Init.Mode = FDCAN_MODE_NORMAL;
  hfdcan2.Init.AutoRetransmission = ENABLE;
  hfdcan2.Init.TransmitPause = DISABLE;
  hfdcan2.Init.ProtocolException = DISABLE;
  hfdcan2.Init.NominalPrescaler = 16;
  hfdcan2.Init.NominalSyncJumpWidth = 1;
  hfdcan2.Init.NominalTimeSeg1 = 4;
  hfdcan2.Init.NominalTimeSeg2 = 3;
  hfdcan2.Init.DataPrescaler = 1;
  hfdcan2.Init.DataSyncJumpWidth = 1;
  hfdcan2.Init.DataTimeSeg1 = 1;
  hfdcan2.Init.DataTimeSeg2 = 1;
  hfdcan2.Init.StdFiltersNbr = 0;
  hfdcan2.Init.ExtFiltersNbr = 0;
  hfdcan2.Init.TxFifoQueueMode = FDCAN_TX_FIFO_OPERATION;
  if (HAL_FDCAN_Init(&hfdcan2) != HAL_OK)
  {
    Error_Handler();
  }

}

static void MX_SPI2_Init(void)
{

  /* SPI2 parameter configuration*/
  hspi2.Instance = SPI2;
  hspi2.Init.Mode = SPI_MODE_MASTER;
  hspi2.Init.Direction = SPI_DIRECTION_2LINES;
  hspi2.Init.DataSize = SPI_DATASIZE_8BIT;
  hspi2.Init.CLKPolarity = SPI_POLARITY_HIGH;
  hspi2.Init.CLKPhase = SPI_PHASE_2EDGE;
  hspi2.Init.NSS = SPI_NSS_SOFT;
  hspi2.Init.BaudRatePrescaler = SPI_BAUDRATEPRESCALER_2;
  hspi2.Init.FirstBit = SPI_FIRSTBIT_MSB;
  hspi2.Init.TIMode = SPI_TIMODE_DISABLE;
  hspi2.Init.CRCCalculation = SPI_CRCCALCULATION_DISABLE;
  hspi2.Init.CRCPolynomial = 7;
  hspi2.Init.CRCLength = SPI_CRC_LENGTH_DATASIZE;
  hspi2.Init.NSSPMode = SPI_NSS_PULSE_DISABLE;
  if (HAL_SPI_Init(&hspi2) != HAL_OK)
  {
    Error_Handler();
  }

}

static void MX_TIM1_Init(void)
{

  TIM_MasterConfigTypeDef sMasterConfig = {0};
  TIM_OC_InitTypeDef sConfigOC = {0};
  TIM_BreakDeadTimeConfigTypeDef sBreakDeadTimeConfig = {0};

  htim1.Instance = TIM1;
  htim1.Init.Prescaler = 159;
  htim1.Init.CounterMode = TIM_COUNTERMODE_UP;
  htim1.Init.Period = 99;
  htim1.Init.ClockDivision = TIM_CLOCKDIVISION_DIV1;
  htim1.Init.RepetitionCounter = 0;
  htim1.Init.AutoReloadPreload = TIM_AUTORELOAD_PRELOAD_ENABLE;
  if (HAL_TIM_PWM_Init(&htim1) != HAL_OK)
  {
    Error_Handler();
  }
  sMasterConfig.MasterOutputTrigger = TIM_TRGO_RESET;
  sMasterConfig.MasterOutputTrigger2 = TIM_TRGO2_RESET;
  sMasterConfig.MasterSlaveMode = TIM_MASTERSLAVEMODE_DISABLE;
  if (HAL_TIMEx_MasterConfigSynchronization(&htim1, &sMasterConfig) != HAL_OK)
  {
    Error_Handler();
  }
  sConfigOC.OCMode = TIM_OCMODE_PWM1;
  sConfigOC.Pulse = 0;
  sConfigOC.OCPolarity = TIM_OCPOLARITY_HIGH;
  sConfigOC.OCNPolarity = TIM_OCNPOLARITY_HIGH;
  sConfigOC.OCFastMode = TIM_OCFAST_DISABLE;
  sConfigOC.OCIdleState = TIM_OCIDLESTATE_RESET;
  sConfigOC.OCNIdleState = TIM_OCNIDLESTATE_RESET;
  if (HAL_TIM_PWM_ConfigChannel(&htim1, &sConfigOC, TIM_CHANNEL_1) != HAL_OK)
  {
    Error_Handler();
  }
  sBreakDeadTimeConfig.OffStateRunMode = TIM_OSSR_DISABLE;
  sBreakDeadTimeConfig.OffStateIDLEMode = TIM_OSSI_DISABLE;
  sBreakDeadTimeConfig.LockLevel = TIM_LOCKLEVEL_OFF;
  sBreakDeadTimeConfig.DeadTime = 0;
  sBreakDeadTimeConfig.BreakState = TIM_BREAK_DISABLE;
  sBreakDeadTimeConfig.BreakPolarity = TIM_BREAKPOLARITY_HIGH;
  sBreakDeadTimeConfig.BreakFilter = 0;
  sBreakDeadTimeConfig.BreakAFMode = TIM_BREAK_AFMODE_INPUT;
  sBreakDeadTimeConfig.Break2State = TIM_BREAK2_DISABLE;
  sBreakDeadTimeConfig.Break2Polarity = TIM_BREAK2POLARITY_HIGH;
  sBreakDeadTimeConfig.Break2Filter = 0;
  sBreakDeadTimeConfig.Break2AFMode = TIM_BREAK_AFMODE_INPUT;
  sBreakDeadTimeConfig.AutomaticOutput = TIM_AUTOMATICOUTPUT_DISABLE;
  if (HAL_TIMEx_ConfigBreakDeadTime(&htim1, &sBreakDeadTimeConfig) != HAL_OK)
  {
    Error_Handler();
  }
  HAL_TIM_MspPostInit(&htim1);

}

static void MX_TIM17_Init(void)
{

  htim17.Instance = TIM17;
  htim17.Init.Prescaler = 319;
  htim17.Init.CounterMode = TIM_COUNTERMODE_UP;
  htim17.Init.Period = 9999;
  htim17.Init.ClockDivision = TIM_CLOCKDIVISION_DIV1;
  htim17.Init.RepetitionCounter = 0;
  htim17.Init.AutoReloadPreload = TIM_AUTORELOAD_PRELOAD_ENABLE;
  if (HAL_TIM_Base_Init(&htim17) != HAL_OK)
  {
    Error_Handler();
  }

}

static void MX_UART4_Init(void)
{

  huart4.Instance = UART4;
  huart4.Init.BaudRate = 115200;
  huart4.Init.WordLength = UART_WORDLENGTH_8B;
  huart4.Init.StopBits = UART_STOPBITS_1;
  huart4.Init.Parity = UART_PARITY_NONE;
  huart4.Init.Mode = UART_MODE_TX_RX;
  huart4.Init.HwFlowCtl = UART_HWCONTROL_NONE;
  huart4.Init.OverSampling = UART_OVERSAMPLING_16;
  huart4.Init.OneBitSampling = UART_ONE_BIT_SAMPLE_DISABLE;
  huart4.Init.ClockPrescaler = UART_PRESCALER_DIV1;
  huart4.AdvancedInit.AdvFeatureInit = UART_ADVFEATURE_NO_INIT;
  if (HAL_UART_Init(&huart4) != HAL_OK)
  {
    Error_Handler();
  }
  if (HAL_UARTEx_SetTxFifoThreshold(&huart4, UART_TXFIFO_THRESHOLD_1_8) != HAL_OK)
  {
    Error_Handler();
  }
  if (HAL_UARTEx_SetRxFifoThreshold(&huart4, UART_RXFIFO_THRESHOLD_1_8) != HAL_OK)
  {
    Error_Handler();
  }
  if (HAL_UARTEx_DisableFifoMode(&huart4) != HAL_OK)
  {
    Error_Handler();
  }

}

static void MX_USART1_UART_Init(void)
{

  huart1.Instance = USART1;
  huart1.Init.BaudRate = 115200;
  huart1.Init.WordLength = UART_WORDLENGTH_8B;
  huart1.Init.StopBits = UART_STOPBITS_1;
  huart1.Init.Parity = UART_PARITY_NONE;
  huart1.Init.Mode = UART_MODE_TX_RX;
  huart1.Init.HwFlowCtl = UART_HWCONTROL_NONE;
  huart1.Init.OverSampling = UART_OVERSAMPLING_16;
  huart1.Init.OneBitSampling = UART_ONE_BIT_SAMPLE_DISABLE;
  huart1.Init.ClockPrescaler = UART_PRESCALER_DIV1;
  huart1.AdvancedInit.AdvFeatureInit = UART_ADVFEATURE_NO_INIT;
  if (HAL_UART_Init(&huart1) != HAL_OK)
  {
    Error_Handler();
  }
  if (HAL_UARTEx_SetTxFifoThreshold(&huart1, UART_TXFIFO_THRESHOLD_1_8) != HAL_OK)
  {
    Error_Handler();
  }
  if (HAL_UARTEx_SetRxFifoThreshold(&huart1, UART_RXFIFO_THRESHOLD_1_8) != HAL_OK)
  {
    Error_Handler();
  }
  if (HAL_UARTEx_DisableFifoMode(&huart1) != HAL_OK)
  {
    Error_Handler();
  }

}

static void MX_USART2_UART_Init(void)
{

  huart2.Instance = USART2;
  huart2.Init.BaudRate = 115200;
  huart2.Init.WordLength = UART_WORDLENGTH_8B;
  huart2.Init.StopBits = UART_STOPBITS_1;
  huart2.Init.Parity = UART_PARITY_NONE;
  huart2.Init.Mode = UART_MODE_TX_RX;
  huart2.Init.HwFlowCtl = UART_HWCONTROL_NONE;
  huart2.Init.OverSampling = UART_OVERSAMPLING_16;
  huart2.Init.OneBitSampling = UART_ONE_BIT_SAMPLE_DISABLE;
  huart2.Init.ClockPrescaler = UART_PRESCALER_DIV1;
  huart2.AdvancedInit.AdvFeatureInit = UART_ADVFEATURE_NO_INIT;
  if (HAL_UART_Init(&huart2) != HAL_OK)
  {
    Error_Handler();
  }
  if (HAL_UARTEx_SetTxFifoThreshold(&huart2, UART_TXFIFO_THRESHOLD_1_8) != HAL_OK)
  {
    Error_Handler();
  }
  if (HAL_UARTEx_SetRxFifoThreshold(&huart2, UART_RXFIFO_THRESHOLD_1_8) != HAL_OK)
  {
    Error_Handler();
  }
  if (HAL_UARTEx_DisableFifoMode(&huart2) != HAL_OK)
  {
    Error_Handler();
  }

}

static void MX_USART3_UART_Init(void)
{

  huart3.Instance = USART3;
  huart3.Init.BaudRate = 115200;
  huart3.Init.WordLength = UART_WORDLENGTH_8B;
  huart3.Init.StopBits = UART_STOPBITS_1;
  huart3.Init.Parity = UART_PARITY_NONE;
  huart3.Init.Mode = UART_MODE_TX_RX;
  huart3.Init.HwFlowCtl = UART_HWCONTROL_NONE;
  huart3.Init.OverSampling = UART_OVERSAMPLING_16;
  huart3.Init.OneBitSampling = UART_ONE_BIT_SAMPLE_DISABLE;
  huart3.Init.ClockPrescaler = UART_PRESCALER_DIV1;
  huart3.AdvancedInit.AdvFeatureInit = UART_ADVFEATURE_NO_INIT;
  if (HAL_UART_Init(&huart3) != HAL_OK)
  {
    Error_Handler();
  }
  if (HAL_UARTEx_SetTxFifoThreshold(&huart3, UART_TXFIFO_THRESHOLD_1_8) != HAL_OK)
  {
    Error_Handler();
  }
  if (HAL_UARTEx_SetRxFifoThreshold(&huart3, UART_RXFIFO_THRESHOLD_1_8) != HAL_OK)
  {
    Error_Handler();
  }
  if (HAL_UARTEx_DisableFifoMode(&huart3) != HAL_OK)
  {
    Error_Handler();
  }

}

static void MX_DMA_Init(void)
{

  /* DMA controller clock enable */
  __HAL_RCC_DMAMUX1_CLK_ENABLE();
  __HAL_RCC_DMA1_CLK_ENABLE();

  /* DMA interrupt init */
  /* DMA1_Channel1_IRQn interrupt configuration */
  HAL_NVIC_SetPriority(DMA1_Channel1_IRQn, 0, 0);
  HAL_NVIC_EnableIRQ(DMA1_Channel1_IRQn);
  /* DMA1_Channel2_IRQn interrupt configuration */
  HAL_NVIC_SetPriority(DMA1_Channel2_IRQn, 0, 0);
  HAL_NVIC_EnableIRQ(DMA1_Channel2_IRQn);

}

static void MX_GPIO_Init(void)
{
  GPIO_InitTypeDef GPIO_InitStruct = {0};

  /* GPIO Ports Clock Enable */
  __HAL_RCC_GPIOC_CLK_ENABLE();
  __HAL_RCC_GPIOA_CLK_ENABLE();
  __HAL_RCC_GPIOB_CLK_ENABLE();

  /*Configure GPIO pin Output Level */
  HAL_GPIO_WritePin(GPIOC, PP_SELECT_Pin|CP_SELECT_Pin|EV_Charge_Pin, GPIO_PIN_RESET);

  /*Configure GPIO pin Output Level */
  HAL_GPIO_WritePin(LED1_GPIO_Port, LED1_Pin, GPIO_PIN_RESET);

  /*Configure GPIO pin Output Level */
  HAL_GPIO_WritePin(GPIOB, QCA_RS_Pin|SPI2_CS_Pin, GPIO_PIN_RESET);

  /*Configure GPIO pin : BUTTON_INT_Pin */
  GPIO_InitStruct.Pin = BUTTON_INT_Pin;
  GPIO_InitStruct.Mode = GPIO_MODE_IT_RISING;
  GPIO_InitStruct.Pull = GPIO_NOPULL;
  HAL_GPIO_Init(BUTTON_INT_GPIO_Port, &GPIO_InitStruct);

  /*Configure GPIO pins : PP_SELECT_Pin CP_SELECT_Pin EV_Charge_Pin */
  GPIO_InitStruct.Pin = PP_SELECT_Pin|CP_SELECT_Pin|EV_Charge_Pin;
  GPIO_InitStruct.Mode = GPIO_MODE_OUTPUT_PP;
  GPIO_InitStruct.Pull = GPIO_NOPULL;
  GPIO_InitStruct.Speed = GPIO_SPEED_FREQ_LOW;
  HAL_GPIO_Init(GPIOC, &GPIO_InitStruct);

  /*Configure GPIO pin : LED1_Pin */
  GPIO_InitStruct.Pin = LED1_Pin;
  GPIO_InitStruct.Mode = GPIO_MODE_OUTPUT_PP;
  GPIO_InitStruct.Pull = GPIO_NOPULL;
  GPIO_InitStruct.Speed = GPIO_SPEED_FREQ_LOW;
  HAL_GPIO_Init(LED1_GPIO_Port, &GPIO_InitStruct);

  /*Configure GPIO pin : QCA_INT_Pin */
  GPIO_InitStruct.Pin = QCA_INT_Pin;
  GPIO_InitStruct.Mode = GPIO_MODE_IT_RISING;
  GPIO_InitStruct.Pull = GPIO_NOPULL;
  HAL_GPIO_Init(QCA_INT_GPIO_Port, &GPIO_InitStruct);

  /*Configure GPIO pins : QCA_RS_Pin SPI2_CS_Pin */
  GPIO_InitStruct.Pin = QCA_RS_Pin|SPI2_CS_Pin;
  GPIO_InitStruct.Mode = GPIO_MODE_OUTPUT_PP;
  GPIO_InitStruct.Pull = GPIO_NOPULL;
  GPIO_InitStruct.Speed = GPIO_SPEED_FREQ_LOW;
  HAL_GPIO_Init(GPIOB, &GPIO_InitStruct);

  /* EXTI interrupt init*/
  HAL_NVIC_SetPriority(EXTI1_IRQn, 0, 0);
  HAL_NVIC_EnableIRQ(EXTI1_IRQn);

  HAL_NVIC_SetPriority(EXTI15_10_IRQn, 0, 0);
  HAL_NVIC_EnableIRQ(EXTI15_10_IRQn);

}

void Error_Handler(void)
{
	__disable_irq();
	while (1) {
	}
}
